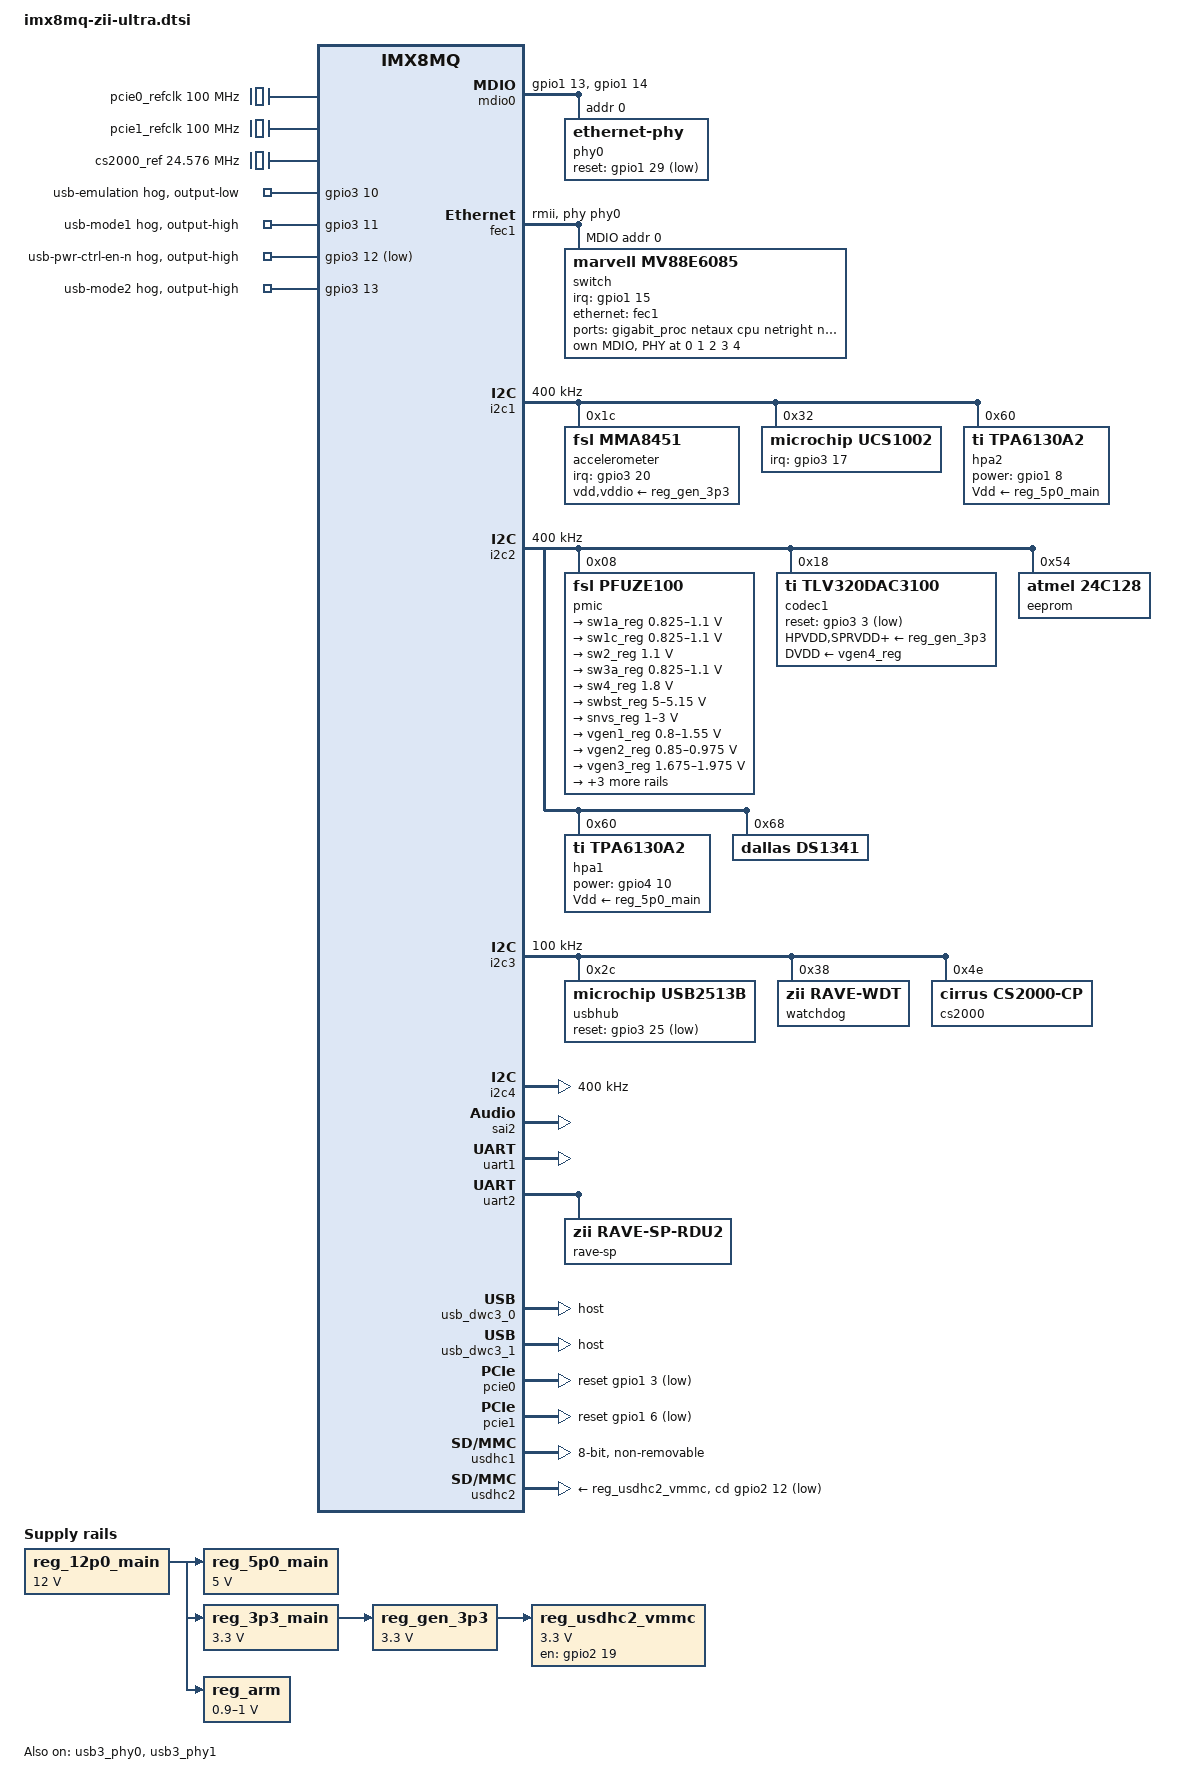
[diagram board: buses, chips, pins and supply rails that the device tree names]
// SPDX-License-Identifier: (GPL-2.0 OR MIT)
/*
 * Copyright (C) 2019 Zodiac Inflight Innovations
 */

#include "imx8mq.dtsi"

/ {
	aliases {
		mdio-gpio0 = &mdio0;
		rtc0 = &ds1341;
	};

	chosen {
		stdout-path = &uart1;
	};

	mdio0: bitbang-mdio {
		compatible = "virtual,mdio-gpio";
		pinctrl-names = "default";
		pinctrl-0 = <&pinctrl_mdio_bitbang>, <&pinctrl_fec1_phy_reset>;
		gpios = <&gpio1 13 GPIO_ACTIVE_HIGH>, /* MDC */
			<&gpio1 14 GPIO_ACTIVE_HIGH>; /* MDIO */
		#address-cells = <1>;
		#size-cells = <0>;

		phy0: ethernet-phy@0 {
			reg = <0>;
			reset-gpios = <&gpio1 29 GPIO_ACTIVE_LOW>;
		};
	};

	pcie0_refclk: clock-pcie0-refclk {
		compatible = "fixed-clock";
		#clock-cells = <0>;
		clock-frequency = <100000000>;
	};

	pcie1_refclk: clock-pcie1-refclk {
		compatible = "fixed-clock";
		#clock-cells = <0>;
		clock-frequency = <100000000>;
	};

	reg_12p0_main: regulator-12p0-main {
		compatible = "regulator-fixed";
		regulator-name = "12V_MAIN";
		regulator-min-microvolt = <12000000>;
		regulator-max-microvolt = <12000000>;
		regulator-always-on;
	};

	reg_5p0_main: regulator-5p0-main {
		compatible = "regulator-fixed";
		vin-supply = <&reg_12p0_main>;
		regulator-name = "5V_MAIN";
		regulator-min-microvolt = <5000000>;
		regulator-max-microvolt = <5000000>;
		regulator-always-on;
	};

	reg_3p3_main: regulator-3p3-main {
		compatible = "regulator-fixed";
		vin-supply = <&reg_12p0_main>;
		regulator-name = "3V3_MAIN";
		regulator-min-microvolt = <3300000>;
		regulator-max-microvolt = <3300000>;
		regulator-always-on;
	};

	reg_gen_3p3: regulator-gen-3p3 {
		compatible = "regulator-fixed";
		vin-supply = <&reg_3p3_main>;
		regulator-name = "GEN_3V3";
		regulator-min-microvolt = <3300000>;
		regulator-max-microvolt = <3300000>;
		regulator-always-on;
	};

	reg_usdhc2_vmmc: regulator-vsd-3v3 {
		pinctrl-names = "default";
		pinctrl-0 = <&pinctrl_reg_usdhc2>;
		compatible = "regulator-fixed";
		vin-supply = <&reg_gen_3p3>;
		regulator-name = "3V3_SD";
		regulator-min-microvolt = <3300000>;
		regulator-max-microvolt = <3300000>;
		gpio = <&gpio2 19 GPIO_ACTIVE_HIGH>;
		enable-active-high;
	};

	reg_arm: regulator-arm {
		pinctrl-names = "default";
		pinctrl-0 = <&pinctrl_reg_arm>;
		compatible = "regulator-gpio";
		vin-supply = <&reg_12p0_main>;
		regulator-name = "0V9_ARM";
		regulator-min-microvolt = <900000>;
		regulator-max-microvolt = <1000000>;
		gpios = <&gpio3 16 GPIO_ACTIVE_HIGH>;
		states = <1000000 0x1
		           900000 0x0>;
		regulator-always-on;
	};

	cs2000_ref: cs2000-ref {
		compatible = "fixed-clock";
		#clock-cells = <0>;
		clock-frequency = <24576000>;
	};

	cs2000_in_dummy: cs2000-in-dummy {
		compatible = "fixed-clock";
		#clock-cells = <0>;
		clock-frequency = <0>;
	};
};

&A53_0 {
	cpu-supply = <&reg_arm>;
};

&A53_1 {
	cpu-supply = <&reg_arm>;
};

&A53_2 {
	cpu-supply = <&reg_arm>;
};

&A53_3 {
	cpu-supply = <&reg_arm>;
};

&fec1 {
	pinctrl-names = "default";
	pinctrl-0 = <&pinctrl_fec1>;

	phy-handle = <&phy0>;
	phy-mode = "rmii";
	status = "okay";

	mdio {
		#address-cells = <1>;
		#size-cells = <0>;
		clock-frequency = <12500000>;
		suppress-preamble;
		status = "okay";

		switch: switch@0 {
			compatible = "marvell,mv88e6085";
			pinctrl-0 = <&pinctrl_switch_irq>;
			pinctrl-names = "default";
			reg = <0>;
			dsa,member = <0 0>;
			eeprom-length = <512>;
			interrupt-parent = <&gpio1>;
			interrupts = <15 IRQ_TYPE_LEVEL_LOW>;
			interrupt-controller;
			#interrupt-cells = <2>;

			ports {
				#address-cells = <1>;
				#size-cells = <0>;

				port@0 {
					reg = <0>;
					label = "gigabit_proc";
					phy-handle = <&switchphy0>;
				};

				port@1 {
					reg = <1>;
					label = "netaux";
					phy-handle = <&switchphy1>;
				};

				port@2 {
					reg = <2>;
					label = "cpu";
					ethernet = <&fec1>;

					fixed-link {
						speed = <100>;
						full-duplex;
					};
				};

				port@3 {
					reg = <3>;
					label = "netright";
					phy-handle = <&switchphy3>;
				};

				port@4 {
					reg = <4>;
					label = "netleft";
					phy-handle = <&switchphy4>;
				};
			};

			mdio {
				#address-cells = <1>;
				#size-cells = <0>;

				switchphy0: switchphy@0 {
					reg = <0>;
					interrupt-parent = <&switch>;
					interrupts = <0 IRQ_TYPE_LEVEL_HIGH>;
				};

				switchphy1: switchphy@1 {
					reg = <1>;
					interrupt-parent = <&switch>;
					interrupts = <1 IRQ_TYPE_LEVEL_HIGH>;
				};

				switchphy2: switchphy@2 {
					reg = <2>;
					interrupt-parent = <&switch>;
					interrupts = <2 IRQ_TYPE_LEVEL_HIGH>;
				};

				switchphy3: switchphy@3 {
					reg = <3>;
					interrupt-parent = <&switch>;
					interrupts = <3 IRQ_TYPE_LEVEL_HIGH>;
				};

				switchphy4: switchphy@4 {
					reg = <4>;
					interrupt-parent = <&switch>;
					interrupts = <4 IRQ_TYPE_LEVEL_HIGH>;
				};
			};
		};
	};
};

&gpio3 {
	pinctrl-names = "default";
	pinctrl-0 = <&pinctrl_gpio3_hog>;

	usb-emulation-hog {
		gpio-hog;
		gpios = <10 GPIO_ACTIVE_HIGH>;
		output-low;
		line-name = "usb-emulation";
	};

	usb-mode1-hog {
		gpio-hog;
		gpios = <11 GPIO_ACTIVE_HIGH>;
		output-high;
		line-name = "usb-mode1";
	};

	usb-pwr-hog {
		gpio-hog;
		gpios = <12 GPIO_ACTIVE_LOW>;
		output-high;
		line-name = "usb-pwr-ctrl-en-n";
	};

	usb-mode2-hog {
		gpio-hog;
		gpios = <13 GPIO_ACTIVE_HIGH>;
		output-high;
		line-name = "usb-mode2";
	};
};

&i2c1 {
	clock-frequency = <400000>;
	pinctrl-names = "default";
	pinctrl-0 = <&pinctrl_i2c1>;
	status = "okay";

	accelerometer@1c {
		compatible = "fsl,mma8451";
		pinctrl-names = "default";
		pinctrl-0 = <&pinctrl_accel>;
		reg = <0x1c>;
		interrupt-parent = <&gpio3>;
		interrupts = <20 IRQ_TYPE_LEVEL_LOW>;
		interrupt-names = "INT2";
		vdd-supply = <&reg_gen_3p3>;
		vddio-supply = <&reg_gen_3p3>;
	};

	ucs1002: charger@32 {
		compatible = "microchip,ucs1002";
		pinctrl-names = "default";
		pinctrl-0 = <&pinctrl_ucs1002>;
		reg = <0x32>;
		interrupt-parent = <&gpio3>;
		interrupts = <17 IRQ_TYPE_EDGE_BOTH>,
		             <18 IRQ_TYPE_EDGE_FALLING>;
		interrupt-names = "a_det", "alert";
	};

	hpa2: amp@60 {
		compatible = "ti,tpa6130a2";
		pinctrl-names = "default";
		pinctrl-0 = <&pinctrl_tpa2>;
		reg = <0x60>;
		power-gpio = <&gpio1 8 GPIO_ACTIVE_HIGH>;
		Vdd-supply = <&reg_5p0_main>;
		sound-name-prefix = "HPA2";
	};
};

&i2c2 {
	clock-frequency = <400000>;
	pinctrl-names = "default";
	pinctrl-0 = <&pinctrl_i2c2>;
	status = "okay";

	pmic@8 {
		compatible = "fsl,pfuze100";
		reg = <0x8>;

		regulators {
			sw1a_reg: sw1ab {
				regulator-min-microvolt = <825000>;
				regulator-max-microvolt = <1100000>;
			};

			sw1c_reg: sw1c {
				regulator-min-microvolt = <825000>;
				regulator-max-microvolt = <1100000>;
			};

			sw2_reg: sw2 {
				regulator-min-microvolt = <1100000>;
				regulator-max-microvolt = <1100000>;
				regulator-always-on;
			};

			sw3a_reg: sw3ab {
				regulator-min-microvolt = <825000>;
				regulator-max-microvolt = <1100000>;
				regulator-always-on;
			};

			sw4_reg: sw4 {
				regulator-min-microvolt = <1800000>;
				regulator-max-microvolt = <1800000>;
				regulator-always-on;
			};

			swbst_reg: swbst {
				regulator-min-microvolt = <5000000>;
				regulator-max-microvolt = <5150000>;
			};

			snvs_reg: vsnvs {
				regulator-min-microvolt = <1000000>;
				regulator-max-microvolt = <3000000>;
				regulator-always-on;
			};

			vref_reg: vrefddr {
				regulator-always-on;
			};

			vgen1_reg: vgen1 {
				regulator-min-microvolt = <800000>;
				regulator-max-microvolt = <1550000>;
			};

			vgen2_reg: vgen2 {
				regulator-min-microvolt = <850000>;
				regulator-max-microvolt = <975000>;
				regulator-always-on;
			};

			vgen3_reg: vgen3 {
				regulator-min-microvolt = <1675000>;
				regulator-max-microvolt = <1975000>;
				regulator-always-on;
			};

			vgen4_reg: vgen4 {
				regulator-min-microvolt = <1625000>;
				regulator-max-microvolt = <1875000>;
				regulator-always-on;
			};

			vgen5_reg: vgen5 {
				regulator-min-microvolt = <3075000>;
				regulator-max-microvolt = <3625000>;
				regulator-always-on;
			};

			vgen6_reg: vgen6 {
				regulator-min-microvolt = <1800000>;
				regulator-max-microvolt = <3300000>;
			};
		};
	};

	codec1: codec@18 {
		compatible = "ti,tlv320dac3100";
		pinctrl-names = "default";
		pinctrl-0 = <&pinctrl_codec1>;
		reg = <0x18>;
		#sound-dai-cells = <0>;
		HPVDD-supply = <&reg_gen_3p3>;
		SPRVDD-supply = <&reg_gen_3p3>;
		SPLVDD-supply = <&reg_gen_3p3>;
		AVDD-supply = <&reg_gen_3p3>;
		IOVDD-supply = <&reg_gen_3p3>;
		DVDD-supply = <&vgen4_reg>;
		reset-gpios = <&gpio3 3 GPIO_ACTIVE_LOW>;
	};

	eeprom@54 {
		compatible = "atmel,24c128";
		reg = <0x54>;
	};

	hpa1: amp@60 {
		compatible = "ti,tpa6130a2";
		pinctrl-names = "default";
		pinctrl-0 = <&pinctrl_tpa1>;
		reg = <0x60>;
		power-gpio = <&gpio4 10 GPIO_ACTIVE_HIGH>;
		Vdd-supply = <&reg_5p0_main>;
		sound-name-prefix = "HPA1";
	};

	ds1341: rtc@68 {
		compatible = "dallas,ds1341";
		reg = <0x68>;
	};
};

&i2c3 {
	clock-frequency = <100000>;
	pinctrl-names = "default";
	pinctrl-0 = <&pinctrl_i2c3>;
	status = "okay";

	usbhub: usbhub@2c {
		compatible ="microchip,usb2513b";
		pinctrl-names = "default";
		pinctrl-0 = <&pinctrl_usbhub>;
		reg = <0x2c>;
		reset-gpios = <&gpio3 25 GPIO_ACTIVE_LOW>;
	};

	watchdog@38 {
		compatible = "zii,rave-wdt";
		reg = <0x38>;
	};

	cs2000: clkgen@4e {
		compatible = "cirrus,cs2000-cp";
		reg = <0x4e>;
		#clock-cells = <0>;
		clock-names = "clk_in", "ref_clk";
		clocks = <&cs2000_in_dummy>, <&cs2000_ref>;
		assigned-clocks = <&cs2000>;
		assigned-clock-rates = <24000000>;
	};
};

&i2c4 {
	clock-frequency = <400000>;
	pinctrl-names = "default";
	pinctrl-0 = <&pinctrl_i2c4>;
	status = "okay";
};

&sai2 {
	pinctrl-names = "default";
	pinctrl-0 = <&pinctrl_sai2>;
	status = "okay";
};

&uart1 {
	pinctrl-names = "default";
	pinctrl-0 = <&pinctrl_uart1>;
	status = "okay";
};

&uart2 {
	pinctrl-names = "default";
	pinctrl-0 = <&pinctrl_uart2>;
	status = "okay";

	rave-sp {
		compatible = "zii,rave-sp-rdu2";
		current-speed = <1000000>;
		#address-cells = <1>;
		#size-cells = <1>;

		watchdog {
			compatible = "zii,rave-sp-watchdog";
		};

		backlight {
			compatible = "zii,rave-sp-backlight";
		};

		pwrbutton {
			compatible = "zii,rave-sp-pwrbutton";
		};

		eeprom@a3 {
			compatible = "zii,rave-sp-eeprom";
			reg = <0xa3 0x4000>;
			zii,eeprom-name = "dds-eeprom";
		};

		eeprom@a4 {
			compatible = "zii,rave-sp-eeprom";
			reg = <0xa4 0x4000>;
			#address-cells = <1>;
			#size-cells = <1>;
			zii,eeprom-name = "main-eeprom";
		};
	};
};

&usb3_phy0 {
	vbus-supply = <&ucs1002>;
	status = "okay";
};

&usb_dwc3_0 {
	dr_mode = "host";
	maximum-speed = "high-speed";
	status = "okay";
};

&usb3_phy1 {
	vbus-supply = <&reg_5p0_main>;
	status = "okay";
};

&usb_dwc3_1 {
	dr_mode = "host";
	maximum-speed = "high-speed";
	status = "okay";
};

&pcie0 {
	pinctrl-names = "default";
	pinctrl-0 = <&pinctrl_pcie0>;
	reset-gpio = <&gpio1 3 GPIO_ACTIVE_LOW>;
	clocks = <&clk IMX8MQ_CLK_PCIE1_ROOT>,
	         <&clk IMX8MQ_CLK_PCIE1_AUX>,
	         <&clk IMX8MQ_CLK_PCIE1_PHY>,
	         <&pcie0_refclk>;
	clock-names = "pcie", "pcie_aux", "pcie_phy", "pcie_bus";
	status = "okay";
};

&pcie1 {
	pinctrl-names = "default";
	pinctrl-0 = <&pinctrl_pcie1>;
	reset-gpio = <&gpio1 6 GPIO_ACTIVE_LOW>;
	clocks = <&clk IMX8MQ_CLK_PCIE2_ROOT>,
	         <&clk IMX8MQ_CLK_PCIE2_AUX>,
	         <&clk IMX8MQ_CLK_PCIE2_PHY>,
	         <&pcie1_refclk>;
	clock-names = "pcie", "pcie_aux", "pcie_phy", "pcie_bus";
	status = "okay";
};

&pgc_gpu {
	power-supply = <&sw1a_reg>;
};

&pgc_vpu {
	power-supply = <&sw1c_reg>;
};

&usdhc1 {
	assigned-clocks = <&clk IMX8MQ_CLK_USDHC1>;
	assigned-clock-rates = <400000000>;
	pinctrl-names = "default", "state_100mhz", "state_200mhz";
	pinctrl-0 = <&pinctrl_usdhc1>;
	pinctrl-1 = <&pinctrl_usdhc1_100mhz>;
	pinctrl-2 = <&pinctrl_usdhc1_200mhz>;
	vqmmc-supply = <&sw4_reg>;
	bus-width = <8>;
	non-removable;
	no-sd;
	no-sdio;
	status = "okay";
};

&usdhc2 {
	assigned-clocks = <&clk IMX8MQ_CLK_USDHC2>;
	assigned-clock-rates = <200000000>;
	pinctrl-names = "default", "state_100mhz", "state_200mhz";
	pinctrl-0 = <&pinctrl_usdhc2>;
	pinctrl-1 = <&pinctrl_usdhc2_100mhz>;
	pinctrl-2 = <&pinctrl_usdhc2_200mhz>;
	cd-gpios = <&gpio2 12 GPIO_ACTIVE_LOW>;
	vmmc-supply = <&reg_usdhc2_vmmc>;
	status = "okay";
};

&snvs_rtc {
	status = "disabled";
};

&iomuxc {
	pinctrl_accel: accelgrp {
		fsl,pins = <
			MX8MQ_IOMUXC_SAI5_RXC_GPIO3_IO20		0x41
		>;
	};

	pinctrl_codec1: dac1grp {
		fsl,pins = <
			MX8MQ_IOMUXC_NAND_CE2_B_GPIO3_IO3		0x41
		>;
	};

	pinctrl_fec1: fec1grp {
		fsl,pins = <
			MX8MQ_IOMUXC_ENET_MDC_ENET1_MDC			0x3
			MX8MQ_IOMUXC_ENET_MDIO_ENET1_MDIO		0x23
			MX8MQ_IOMUXC_ENET_TD1_ENET1_RGMII_TD1		0x1f
			MX8MQ_IOMUXC_ENET_TD0_ENET1_RGMII_TD0		0x1f
			MX8MQ_IOMUXC_ENET_RD1_ENET1_RGMII_RD1		0x91
			MX8MQ_IOMUXC_ENET_RD0_ENET1_RGMII_RD0		0x91
			MX8MQ_IOMUXC_ENET_TD2_ENET1_TX_CLK		0x1f
			MX8MQ_IOMUXC_ENET_RXC_ENET1_RX_ER		0x91
			MX8MQ_IOMUXC_ENET_RX_CTL_ENET1_RGMII_RX_CTL	0x91
			MX8MQ_IOMUXC_ENET_TX_CTL_ENET1_RGMII_TX_CTL	0x1f
		>;
	};

	pinctrl_fec1_phy_reset: fec1phyresetgrp {
		fsl,pins = <
			MX8MQ_IOMUXC_ENET_RD3_GPIO1_IO29		0x11
		>;
	};

	pinctrl_gpio3_hog: gpio3hoggrp {
		fsl,pins = <
			MX8MQ_IOMUXC_NAND_DATA04_GPIO3_IO10		0x6
			MX8MQ_IOMUXC_NAND_DATA05_GPIO3_IO11		0x6
			MX8MQ_IOMUXC_NAND_DATA06_GPIO3_IO12		0x6
			MX8MQ_IOMUXC_NAND_DATA07_GPIO3_IO13		0x6
		>;
	};

	pinctrl_i2c1: i2c1grp {
		fsl,pins = <
			MX8MQ_IOMUXC_I2C1_SCL_I2C1_SCL			0x40000022
			MX8MQ_IOMUXC_I2C1_SDA_I2C1_SDA			0x400000a2
		>;
	};

	pinctrl_i2c2: i2c2grp {
		fsl,pins = <
			MX8MQ_IOMUXC_I2C2_SCL_I2C2_SCL			0x40000022
			MX8MQ_IOMUXC_I2C2_SDA_I2C2_SDA			0x400000a2
		>;
	};

	pinctrl_i2c3: i2c3grp {
		fsl,pins = <
			MX8MQ_IOMUXC_I2C3_SCL_I2C3_SCL			0x40000022
			MX8MQ_IOMUXC_I2C3_SDA_I2C3_SDA			0x400000a2
		>;
	};

	pinctrl_i2c4: i2c4grp {
		fsl,pins = <
			MX8MQ_IOMUXC_I2C4_SCL_I2C4_SCL			0x40000022
			MX8MQ_IOMUXC_I2C4_SDA_I2C4_SDA			0x400000a2
		>;
	};

	pinctrl_mdio_bitbang: bitbangmdiogrp {
		fsl,pins = <
			MX8MQ_IOMUXC_GPIO1_IO13_GPIO1_IO13		0x44
			MX8MQ_IOMUXC_GPIO1_IO14_GPIO1_IO14		0x64
		>;
	};

	pinctrl_pcie0: pcie0grp {
		fsl,pins = <
			MX8MQ_IOMUXC_UART4_RXD_PCIE1_CLKREQ_B		0x66
			MX8MQ_IOMUXC_GPIO1_IO03_GPIO1_IO3		0x6
		>;
	};

	pinctrl_pcie1: pcie1grp {
		fsl,pins = <
			MX8MQ_IOMUXC_UART4_TXD_PCIE2_CLKREQ_B		0x66
			MX8MQ_IOMUXC_GPIO1_IO06_GPIO1_IO6		0x6
		>;
	};

	pinctrl_reg_arm: regarmgrp {
		fsl,pins = <
			MX8MQ_IOMUXC_NAND_READY_B_GPIO3_IO16		0x19
		>;
	};

	pinctrl_reg_usdhc2: regusdhc2grp {
		fsl,pins = <
			MX8MQ_IOMUXC_SD2_RESET_B_GPIO2_IO19		0x41
		>;
	};

	pinctrl_sai2: sai2grp {
		fsl,pins = <
			MX8MQ_IOMUXC_SAI2_TXFS_SAI2_TX_SYNC		0xd6
			MX8MQ_IOMUXC_SAI2_TXC_SAI2_TX_BCLK		0xd6
			MX8MQ_IOMUXC_SAI2_TXD0_SAI2_TX_DATA0		0xd6
		>;
	};

	pinctrl_switch_irq: switchgrp {
		fsl,pins = <
			MX8MQ_IOMUXC_GPIO1_IO15_GPIO1_IO15		0x41
		>;
	};

	pinctrl_tpa1: tpa6130-1grp {
		fsl,pins = <
			MX8MQ_IOMUXC_SAI1_TXFS_GPIO4_IO10		0x41
		>;
	};

	pinctrl_tpa2: tpa6130-2grp {
		fsl,pins = <
			MX8MQ_IOMUXC_GPIO1_IO08_GPIO1_IO8		0x41
		>;
	};

	pinctrl_ts: tsgrp {
		fsl,pins = <
			MX8MQ_IOMUXC_GPIO1_IO11_GPIO1_IO11		0x96
			MX8MQ_IOMUXC_GPIO1_IO12_GPIO1_IO12		0x96
		>;
	};

	pinctrl_uart1: uart1grp {
		fsl,pins = <
			MX8MQ_IOMUXC_UART1_RXD_UART1_DCE_RX		0x49
			MX8MQ_IOMUXC_UART1_TXD_UART1_DCE_TX		0x49
		>;
	};

	pinctrl_uart2: uart2grp {
		fsl,pins = <
			MX8MQ_IOMUXC_UART2_RXD_UART2_DCE_RX		0x49
			MX8MQ_IOMUXC_UART2_TXD_UART2_DCE_TX		0x49
		>;
	};

	pinctrl_ucs1002: ucs1002grp {
		fsl,pins = <
			MX8MQ_IOMUXC_NAND_WE_B_GPIO3_IO17		0x41
			MX8MQ_IOMUXC_NAND_WP_B_GPIO3_IO18		0x41
		>;
	};

	pinctrl_usbhub: usbhubgrp {
		fsl,pins = <
			MX8MQ_IOMUXC_SAI5_MCLK_GPIO3_IO25		0x41
		>;
	};

	pinctrl_usdhc1: usdhc1grp {
		fsl,pins = <
			MX8MQ_IOMUXC_SD1_CLK_USDHC1_CLK			0x83
			MX8MQ_IOMUXC_SD1_CMD_USDHC1_CMD			0xc3
			MX8MQ_IOMUXC_SD1_DATA0_USDHC1_DATA0		0xc3
			MX8MQ_IOMUXC_SD1_DATA1_USDHC1_DATA1		0xc3
			MX8MQ_IOMUXC_SD1_DATA2_USDHC1_DATA2		0xc3
			MX8MQ_IOMUXC_SD1_DATA3_USDHC1_DATA3		0xc3
			MX8MQ_IOMUXC_SD1_DATA4_USDHC1_DATA4		0xc3
			MX8MQ_IOMUXC_SD1_DATA5_USDHC1_DATA5		0xc3
			MX8MQ_IOMUXC_SD1_DATA6_USDHC1_DATA6		0xc3
			MX8MQ_IOMUXC_SD1_DATA7_USDHC1_DATA7		0xc3
			MX8MQ_IOMUXC_SD1_STROBE_USDHC1_STROBE		0x83
			MX8MQ_IOMUXC_SD1_RESET_B_USDHC1_RESET_B		0xc1
		>;
	};

	pinctrl_usdhc1_100mhz: usdhc1-100grp {
		fsl,pins = <
			MX8MQ_IOMUXC_SD1_CLK_USDHC1_CLK			0x8d
			MX8MQ_IOMUXC_SD1_CMD_USDHC1_CMD			0xcd
			MX8MQ_IOMUXC_SD1_DATA0_USDHC1_DATA0		0xcd
			MX8MQ_IOMUXC_SD1_DATA1_USDHC1_DATA1		0xcd
			MX8MQ_IOMUXC_SD1_DATA2_USDHC1_DATA2		0xcd
			MX8MQ_IOMUXC_SD1_DATA3_USDHC1_DATA3		0xcd
			MX8MQ_IOMUXC_SD1_DATA4_USDHC1_DATA4		0xcd
			MX8MQ_IOMUXC_SD1_DATA5_USDHC1_DATA5		0xcd
			MX8MQ_IOMUXC_SD1_DATA6_USDHC1_DATA6		0xcd
			MX8MQ_IOMUXC_SD1_DATA7_USDHC1_DATA7		0xcd
			MX8MQ_IOMUXC_SD1_STROBE_USDHC1_STROBE		0x8d
			MX8MQ_IOMUXC_SD1_RESET_B_USDHC1_RESET_B		0xc1
		>;
	};

	pinctrl_usdhc1_200mhz: usdhc1-200grp {
		fsl,pins = <
			MX8MQ_IOMUXC_SD1_CLK_USDHC1_CLK			0x9f
			MX8MQ_IOMUXC_SD1_CMD_USDHC1_CMD			0xdf
			MX8MQ_IOMUXC_SD1_DATA0_USDHC1_DATA0		0xdf
			MX8MQ_IOMUXC_SD1_DATA1_USDHC1_DATA1		0xdf
			MX8MQ_IOMUXC_SD1_DATA2_USDHC1_DATA2		0xdf
			MX8MQ_IOMUXC_SD1_DATA3_USDHC1_DATA3		0xdf
			MX8MQ_IOMUXC_SD1_DATA4_USDHC1_DATA4		0xdf
			MX8MQ_IOMUXC_SD1_DATA5_USDHC1_DATA5		0xdf
			MX8MQ_IOMUXC_SD1_DATA6_USDHC1_DATA6		0xdf
			MX8MQ_IOMUXC_SD1_DATA7_USDHC1_DATA7		0xdf
			MX8MQ_IOMUXC_SD1_STROBE_USDHC1_STROBE		0x9f
			MX8MQ_IOMUXC_SD1_RESET_B_USDHC1_RESET_B		0xc1
		>;
	};

	pinctrl_usdhc2: usdhc2grp {
		fsl,pins = <
			MX8MQ_IOMUXC_SD2_CLK_USDHC2_CLK			0x83
			MX8MQ_IOMUXC_SD2_CMD_USDHC2_CMD			0xc3
			MX8MQ_IOMUXC_SD2_DATA0_USDHC2_DATA0		0xc3
			MX8MQ_IOMUXC_SD2_DATA1_USDHC2_DATA1		0xc3
			MX8MQ_IOMUXC_SD2_DATA2_USDHC2_DATA2		0xc3
			MX8MQ_IOMUXC_SD2_DATA3_USDHC2_DATA3		0xc3
			MX8MQ_IOMUXC_GPIO1_IO04_USDHC2_VSELECT		0xc1
		>;
	};

	pinctrl_usdhc2_100mhz: usdhc2-100grp {
		fsl,pins = <
			MX8MQ_IOMUXC_SD2_CLK_USDHC2_CLK			0x85
			MX8MQ_IOMUXC_SD2_CMD_USDHC2_CMD			0xc5
			MX8MQ_IOMUXC_SD2_DATA0_USDHC2_DATA0		0xc5
			MX8MQ_IOMUXC_SD2_DATA1_USDHC2_DATA1		0xc5
			MX8MQ_IOMUXC_SD2_DATA2_USDHC2_DATA2		0xc5
			MX8MQ_IOMUXC_SD2_DATA3_USDHC2_DATA3		0xc5
			MX8MQ_IOMUXC_GPIO1_IO04_USDHC2_VSELECT		0xc1
		>;
	};

	pinctrl_usdhc2_200mhz: usdhc2-200grp {
		fsl,pins = <
			MX8MQ_IOMUXC_SD2_CLK_USDHC2_CLK			0x87
			MX8MQ_IOMUXC_SD2_CMD_USDHC2_CMD			0xc7
			MX8MQ_IOMUXC_SD2_DATA0_USDHC2_DATA0		0xc7
			MX8MQ_IOMUXC_SD2_DATA1_USDHC2_DATA1		0xc7
			MX8MQ_IOMUXC_SD2_DATA2_USDHC2_DATA2		0xc7
			MX8MQ_IOMUXC_SD2_DATA3_USDHC2_DATA3		0xc7
			MX8MQ_IOMUXC_GPIO1_IO04_USDHC2_VSELECT		0xc1
		>;
	};
};
